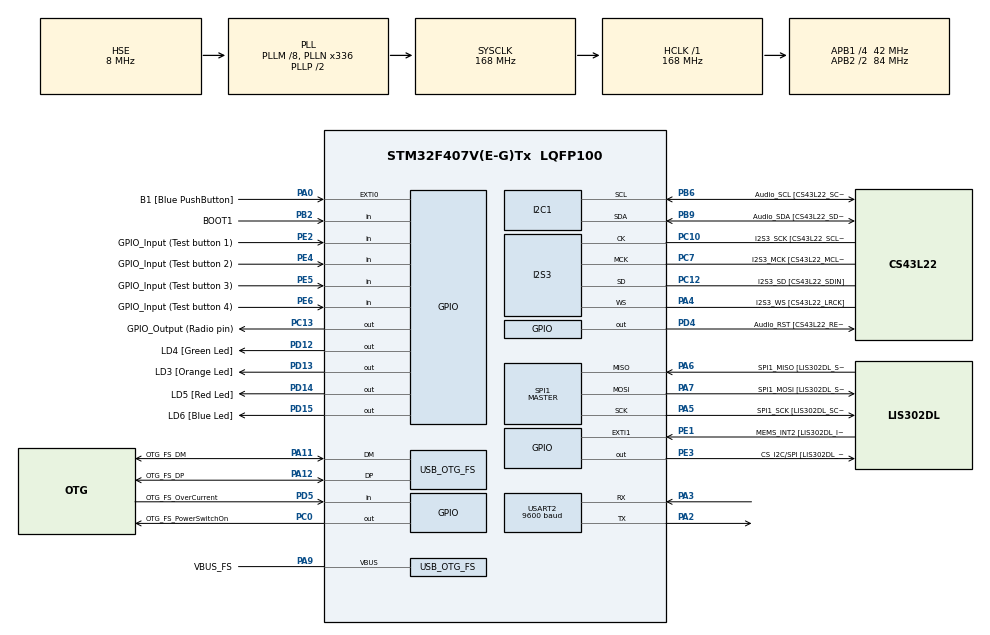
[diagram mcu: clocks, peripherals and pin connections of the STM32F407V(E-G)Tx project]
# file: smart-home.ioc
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I2S3.AudioFreq-Half_Duplex_Master=I2S_AUDIOFREQ_96K
I2S3.ErrorAudioFreq=-2.34 %
I2S3.ErrorAudioFreq-Half_Duplex_Master=0.8 %
I2S3.FullDuplexMode=I2S_FULLDUPLEXMODE_DISABLE
I2S3.Instance=SPI$Index
I2S3.RealAudioFreq=93.75 KHz
I2S3.RealAudioFreq-Half_Duplex_Master=96.774 KHz
I2S3.VirtualMode=I2S_MODE_MASTER
Mcu.Family=STM32F4
Mcu.Name=STM32F407V(E-G)Tx
Mcu.Package=LQFP100
NVIC.OTG_FS_IRQn=true\:0\:0\:false\:false\:true\:true\:true
NVIC.PriorityGroup=NVIC_PRIORITYGROUP_0
NVIC.TIM3_IRQn=true\:0\:0\:false\:false\:true\:true\:true
NVIC.USART2_IRQn=true\:0\:0\:false\:false\:true\:true\:true
PA0-WKUP.GPIO_Label=B1 [Blue PushButton]
PA0-WKUP.GPIO_ModeDefaultEXTI=GPIO_MODE_EVT_RISING
PA0-WKUP.GPIO_PuPd=GPIO_NOPULL
PA0-WKUP.Signal=GPXTI0
PA10.GPIO_Label=OTG_FS_ID
PA10.GPIO_Mode=GPIO_MODE_AF_PP
PA10.GPIO_PuPd=GPIO_NOPULL
PA10.GPIO_Speed=GPIO_SPEED_FREQ_LOW
PA10.Signal=USB_OTG_FS_ID
PA11.GPIO_Label=OTG_FS_DM
PA11.GPIO_Mode=GPIO_MODE_AF_PP
PA11.GPIO_PuPd=GPIO_NOPULL
PA11.GPIO_Speed=GPIO_SPEED_FREQ_LOW
PA11.Mode=Host_Only
PA11.Signal=USB_OTG_FS_DM
PA12.GPIO_Label=OTG_FS_DP
PA12.GPIO_Mode=GPIO_MODE_AF_PP
PA12.GPIO_PuPd=GPIO_NOPULL
PA12.GPIO_Speed=GPIO_SPEED_FREQ_LOW
PA12.Mode=Host_Only
PA12.Signal=USB_OTG_FS_DP
PA13.GPIO_Label=SWDIO
PA13.Mode=Serial_Wire
PA13.Signal=SYS_JTMS-SWDIO
PA14.GPIO_Label=SWCLK
PA14.Mode=Serial_Wire
PA14.Signal=SYS_JTCK-SWCLK
PA2.Mode=Asynchronous
PA2.Signal=USART2_TX
PA3.Mode=Asynchronous
PA3.Signal=USART2_RX
PA4.GPIO_Label=I2S3_WS [CS43L22_LRCK]
PA4.GPIO_Mode=GPIO_MODE_AF_PP
PA4.GPIO_PuPd=GPIO_NOPULL
PA4.GPIO_Speed=GPIO_SPEED_FREQ_LOW
PA4.Mode=Half_Duplex_Master
PA4.Signal=I2S3_WS
PA5.GPIO_Label=SPI1_SCK [LIS302DL_SCL/SPC]
PA5.GPIO_Mode=GPIO_MODE_AF_PP
PA5.GPIO_PuPd=GPIO_NOPULL
PA5.GPIO_Speed=GPIO_SPEED_FREQ_LOW
PA5.Mode=Full_Duplex_Master
PA5.Signal=SPI1_SCK
PA6.GPIO_Label=SPI1_MISO [LIS302DL_SDO]
PA6.GPIO_Mode=GPIO_MODE_AF_PP
PA6.GPIO_PuPd=GPIO_NOPULL
PA6.GPIO_Speed=GPIO_SPEED_FREQ_LOW
PA6.Mode=Full_Duplex_Master
PA6.Signal=SPI1_MISO
PA7.GPIO_Label=SPI1_MOSI [LIS302DL_SDA/SDI/SDO]
PA7.GPIO_Mode=GPIO_MODE_AF_PP
PA7.GPIO_PuPd=GPIO_NOPULL
PA7.GPIO_Speed=GPIO_SPEED_FREQ_LOW
PA7.Mode=Full_Duplex_Master
PA7.Signal=SPI1_MOSI
PA9.GPIO_Label=VBUS_FS
PA9.GPIO_Mode=GPIO_MODE_INPUT
PA9.GPIO_PuPd=GPIO_NOPULL
PA9.Mode=Activate_VBUS
PA9.Signal=USB_OTG_FS_VBUS
PB10.GPIO_Label=CLK_IN [MP45DT02_CLK]
PB10.GPIO_Mode=GPIO_MODE_AF_PP
PB10.GPIO_PuPd=GPIO_NOPULL
PB10.GPIO_Speed=GPIO_SPEED_FREQ_LOW
PB10.Signal=I2S2_CK
PB2.GPIO_Label=BOOT1
PB2.GPIO_Mode=GPIO_MODE_INPUT
PB2.GPIO_PuPd=GPIO_NOPULL
PB2.Signal=GPIO_Input
PB3.GPIO_Label=SWO
PB3.Signal=SYS_JTDO-SWO
PB6.GPIO_Label=Audio_SCL [CS43L22_SCL]
PB6.GPIO_Mode=GPIO_MODE_AF_OD
PB6.GPIO_PuPd=GPIO_NOPULL
PB6.GPIO_Speed=GPIO_SPEED_FREQ_LOW
PB6.Mode=I2C
PB6.Signal=I2C1_SCL
PB9.GPIO_Label=Audio_SDA [CS43L22_SDA]
PB9.GPIO_Mode=GPIO_MODE_AF_OD
PB9.GPIO_PuPd=GPIO_NOPULL
PB9.GPIO_Speed=GPIO_SPEED_FREQ_LOW
PB9.Mode=I2C
PB9.Signal=I2C1_SDA
PC0.GPIO_Label=OTG_FS_PowerSwitchOn
PC0.GPIO_PuPd=GPIO_NOPULL
PC0.GPIO_Speed=GPIO_SPEED_FREQ_LOW
PC0.PinState=GPIO_PIN_SET
PC0.Signal=GPIO_Output
PC10.GPIO_Label=I2S3_SCK [CS43L22_SCLK]
PC10.GPIO_Mode=GPIO_MODE_AF_PP
PC10.GPIO_PuPd=GPIO_NOPULL
PC10.GPIO_Speed=GPIO_SPEED_FREQ_LOW
PC10.Mode=Half_Duplex_Master
PC10.Signal=I2S3_CK
PC12.GPIO_Label=I2S3_SD [CS43L22_SDIN]
PC12.GPIO_Mode=GPIO_MODE_AF_PP
PC12.GPIO_PuPd=GPIO_NOPULL
PC12.GPIO_Speed=GPIO_SPEED_FREQ_LOW
PC12.Mode=Half_Duplex_Master
PC12.Signal=I2S3_SD
PC13-ANTI_TAMP.GPIO_Label=GPIO_Output (Radio pin)
PC13-ANTI_TAMP.Signal=GPIO_Output
PC14-OSC32_IN.GPIO_Label=PC14-OSC32_IN
PC14-OSC32_IN.Mode=LSE-External-Oscillator
PC14-OSC32_IN.Signal=RCC_OSC32_IN
PC15-OSC32_OUT.GPIO_Label=PC15-OSC32_OUT
PC15-OSC32_OUT.Mode=LSE-External-Oscillator
PC15-OSC32_OUT.Signal=RCC_OSC32_OUT
PC3.GPIO_Label=PDM_OUT [MP45DT02_DOUT]
PC3.GPIO_Mode=GPIO_MODE_AF_PP
PC3.GPIO_PuPd=GPIO_NOPULL
PC3.GPIO_Speed=GPIO_SPEED_FREQ_LOW
PC3.Signal=I2S2_SD
PC7.GPIO_Label=I2S3_MCK [CS43L22_MCLK]
PC7.GPIO_Mode=GPIO_MODE_AF_PP
PC7.GPIO_PuPd=GPIO_NOPULL
PC7.GPIO_Speed=GPIO_SPEED_FREQ_LOW
PC7.Mode=Master_Clock_Activated
PC7.Signal=I2S3_MCK
PD12.GPIO_Label=LD4 [Green Led]
PD12.GPIO_PuPd=GPIO_NOPULL
PD12.GPIO_Speed=GPIO_SPEED_FREQ_LOW
PD12.Signal=GPIO_Output
PD13.GPIO_Label=LD3 [Orange Led]
PD13.GPIO_PuPd=GPIO_NOPULL
PD13.GPIO_Speed=GPIO_SPEED_FREQ_LOW
PD13.Signal=GPIO_Output
PD14.GPIO_Label=LD5 [Red Led]
PD14.GPIO_PuPd=GPIO_NOPULL
PD14.GPIO_Speed=GPIO_SPEED_FREQ_LOW
PD14.Signal=GPIO_Output
PD15.GPIO_Label=LD6 [Blue Led]
PD15.GPIO_PuPd=GPIO_NOPULL
PD15.GPIO_Speed=GPIO_SPEED_FREQ_LOW
PD15.Signal=GPIO_Output
PD4.GPIO_Label=Audio_RST [CS43L22_RESET]
PD4.GPIO_PuPd=GPIO_NOPULL
PD4.GPIO_Speed=GPIO_SPEED_FREQ_LOW
PD4.Signal=GPIO_Output
PD5.GPIO_Label=OTG_FS_OverCurrent
PD5.GPIO_Mode=GPIO_MODE_INPUT
PD5.GPIO_PuPd=GPIO_NOPULL
PD5.Signal=GPIO_Input
PE1.GPIO_Label=MEMS_INT2 [LIS302DL_INT2]
PE1.GPIO_ModeDefaultEXTI=GPIO_MODE_EVT_RISING
PE1.GPIO_PuPd=GPIO_NOPULL
PE1.Signal=GPXTI1
PE2.GPIO_Label=GPIO_Input (Test button 1)
PE2.GPIO_PuPd=GPIO_PULLDOWN
PE2.Signal=GPIO_Input
PE3.GPIO_Label=CS_I2C/SPI [LIS302DL_CS_I2C/SPI]
PE3.GPIO_PuPd=GPIO_NOPULL
PE3.GPIO_Speed=GPIO_SPEED_FREQ_LOW
PE3.Signal=GPIO_Output
PE4.GPIO_Label=GPIO_Input (Test button 2)
PE4.GPIO_PuPd=GPIO_PULLDOWN
PE4.Signal=GPIO_Input
PE5.GPIO_Label=GPIO_Input (Test button 3)
PE5.GPIO_PuPd=GPIO_PULLDOWN
PE5.Signal=GPIO_Input
PE6.GPIO_Label=GPIO_Input (Test button 4)
PE6.GPIO_PuPd=GPIO_PULLDOWN
PE6.Signal=GPIO_Input
PH0-OSC_IN.GPIO_Label=PH0-OSC_IN
PH0-OSC_IN.Mode=HSE-External-Oscillator
PH0-OSC_IN.Signal=RCC_OSC_IN
PH1-OSC_OUT.GPIO_Label=PH1-OSC_OUT
PH1-OSC_OUT.Mode=HSE-External-Oscillator
PH1-OSC_OUT.Signal=RCC_OSC_OUT
ProjectManager.HeapSize=0x200
ProjectManager.StackSize=0x400
ProjectManager.TargetToolchain=MDK-ARM V5
RCC.48MHZClocksFreq_Value=48000000
RCC.AHBFreq_Value=168000000
RCC.APB1CLKDivider=RCC_HCLK_DIV4
RCC.APB1Freq_Value=42000000
RCC.APB1TimFreq_Value=84000000
RCC.APB2CLKDivider=RCC_HCLK_DIV2
RCC.APB2Freq_Value=84000000
RCC.APB2TimFreq_Value=168000000
RCC.CortexFreq_Value=168000000
RCC.HCLKFreq_Value=168000000
RCC.HSE_VALUE=8000000
RCC.HSI_VALUE=16000000
RCC.PLLM=8
RCC.PLLN=336
RCC.PLLQ=7
RCC.SYSCLKFreq_VALUE=168000000
RCC.SYSCLKSource=RCC_SYSCLKSOURCE_PLLCLK
RCC.VCOOutputFreq_Value=336000000
SPI1.BaudRatePrescaler-Full_Duplex_Master=SPI_BAUDRATEPRESCALER_2
SPI1.CalculateBaudRate-Full_Duplex_Master=42.0 MBits/s
SPI1.Direction=SPI_DIRECTION_2LINES
SPI1.Mode=SPI_MODE_MASTER
SPI1.Mode-Full_Duplex_Master=SPI_MODE_MASTER
SPI1.VirtualType=VM_MASTER
TIM3.Period=99
TIM3.Prescaler=20
USART2.BaudRate=9600
USART2.VirtualMode=VM_ASYNC
USB_HOST.BSP.number=1
USB_HOST.USBH_HandleTypeDef-CDC_FS=hUsbHostFS
USB_HOST.VirtualModeFS=Cdc
USB_HOST0.BSP.STBoard=false
USB_HOST0.BSP.api=Unknown
USB_HOST0.BSP.i2caddr=0
USB_HOST0.BSP.i2creg=0
USB_HOST0.BSP.instance=PC0
USB_HOST0.BSP.ip=GPIO
USB_HOST0.BSP.mode=Output
USB_HOST0.BSP.name=Drive_VBUS_FS
USB_HOST0.BSP.solution=PC0
USB_OTG_FS.VirtualMode=Host_Only
USB_OTG_FS.phy_itface=HCD_PHY_EMBEDDED
VP_TIM3_VS_ClockSourceINT.Mode=Internal
VP_USB_HOST_VS_USB_HOST_CDC_FS.Mode=CDC_FS
board=STM32F4DISCOVERY

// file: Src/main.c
/* USER CODE BEGIN Header */
/**
  ******************************************************************************
  * @file           : main.c
  * @brief          : Main program body
  ******************************************************************************
  * @attention
  *
  * <h2><center>&copy; Copyright (c) 2019 STMicroelectronics.
  * All rights reserved.</center></h2>
  *
  * This software component is licensed by ST under Ultimate Liberty license
  * SLA0044, the "License"; You may not use this file except in compliance with
  * the License. You may obtain a copy of the License at:
  *                             www.st.com/SLA0044
  *
  ******************************************************************************
  */
/* USER CODE END Header */

#include "main.h"
#include "i2c.h"
#include "i2s.h"
#include "spi.h"
#include "tim.h"
#include "usart.h"
#include "usb_host.h"
#include "gpio.h"

/* USER CODE BEGIN PD */
#define OFF 0
#define ON 1

#define NUM_BUTTONS 4
#define UART_PACKET_SIZE 8
#define DEBOUNCE_DELAY_MS 100

#define NUM_RADIO_PACKETS 6
#define RADIO_PACKET_SIZE 19
#define COUNTER_INC_US 25
#define RADIO_1_US 500
#define RADIO_0_US 250
#define RADIO_PACKET_DELAY_US 1000

/* USER CODE END PD */

/* USER CODE BEGIN PV */
typedef struct
{
	GPIO_TypeDef* GPIO_port;
	uint16_t GPIO_pin;
	uint64_t counter; // Used for debouncing
	uint8_t status;   // Indicates whether or not the button is pressed
	uint8_t radio_flag;
}
button;
/* USER CODE END PV */

void SystemClock_Config(void);
void MX_USB_HOST_Process(void);

/* USER CODE BEGIN PFP */
uint32_t Ms_Tick(void);
void Button_Init(uint8_t i, GPIO_TypeDef* GPIO_bank, uint16_t GPIO_pin);
void Buttons_Init(void);
void Encode_UART_Packets(uint8_t UART_Packets[]);
uint32_t Encode_Radio_Packet(uint8_t i);
void Read_Button(uint8_t i);
void LED_Debug(void);
/* USER CODE END PFP */

/* USER CODE BEGIN 0 */
button buttons[NUM_BUTTONS];
uint8_t Rx_buffer;

volatile uint32_t radio_packet;
volatile uint8_t is_radio_packet_ready = 0;
volatile uint8_t is_going = 0;
volatile uint8_t is_delay = 0;
/* USER CODE END 0 */

int main(void)
{

  /* MCU Configuration--------------------------------------------------------*/

  /* Reset of all peripherals, Initializes the Flash interface and the Systick. */
  HAL_Init();

  /* Configure the system clock */
  SystemClock_Config();

  /* Initialize all configured peripherals */
  MX_GPIO_Init();
  MX_I2C1_Init();
  MX_I2S3_Init();
  MX_SPI1_Init();
  MX_USART2_UART_Init();
  MX_USB_HOST_Init();
  MX_TIM3_Init();
  /* USER CODE BEGIN 2 */
	Buttons_Init();
	HAL_TIM_Base_Start_IT(&htim3);
	uint32_t ms_counter = Ms_Tick();
	uint32_t sec_counter = Ms_Tick();
	uint8_t i;
	uint8_t UART_packets[NUM_BUTTONS];
  /* USER CODE END 2 */

  /* Infinite loop */
  while (1)
  {
    MX_USB_HOST_Process();

    /* USER CODE BEGIN 3 */
    /* Every 1 ms, read the status of each button */
		if (Ms_Tick() - ms_counter > 0)
		{
			for (i = 0; i < NUM_BUTTONS; i++)
			{
				Read_Button(i);
			}
			ms_counter++;
		}
		/* Every 1 sec, encode and transmit the status of the buttons via UART */
		if (Ms_Tick() - sec_counter > 999)
		{
			Encode_UART_Packets(UART_packets);
			HAL_UART_Transmit(&huart2, UART_packets, NUM_BUTTONS, 10);
			sec_counter += 1000;
		}
		/* If there is a change to a button, and no other change
		   is being transmitted, transmit the change via radio */
		for (i = 0; i < NUM_BUTTONS; i++)
		{
			if ((buttons[i].radio_flag == ON) && !(is_radio_packet_ready || is_going || is_delay))
			{
				radio_packet = Encode_Radio_Packet(i);
				buttons[i].radio_flag = OFF;
				is_radio_packet_ready = ON;
			}
		}
		/* Check for incoming UART data */
		HAL_UART_Receive_IT(&huart2, &Rx_buffer, 1);
		/* Display the status of the buttons on the LEDs for debugging purposes */
		LED_Debug();
  }
  /* USER CODE END 3 */
}

void SystemClock_Config(void)
{
  RCC_OscInitTypeDef RCC_OscInitStruct = {0};
  RCC_ClkInitTypeDef RCC_ClkInitStruct = {0};
  RCC_PeriphCLKInitTypeDef PeriphClkInitStruct = {0};

  /** Configure the main internal regulator output voltage
  */
  __HAL_RCC_PWR_CLK_ENABLE();
  __HAL_PWR_VOLTAGESCALING_CONFIG(PWR_REGULATOR_VOLTAGE_SCALE1);
  /** Initializes the CPU, AHB and APB busses clocks
  */
  RCC_OscInitStruct.OscillatorType = RCC_OSCILLATORTYPE_HSE;
  RCC_OscInitStruct.HSEState = RCC_HSE_ON;
  RCC_OscInitStruct.PLL.PLLState = RCC_PLL_ON;
  RCC_OscInitStruct.PLL.PLLSource = RCC_PLLSOURCE_HSE;
  RCC_OscInitStruct.PLL.PLLM = 8;
  RCC_OscInitStruct.PLL.PLLN = 336;
  RCC_OscInitStruct.PLL.PLLP = RCC_PLLP_DIV2;
  RCC_OscInitStruct.PLL.PLLQ = 7;
  if (HAL_RCC_OscConfig(&RCC_OscInitStruct) != HAL_OK)
  {
    Error_Handler();
  }
  /** Initializes the CPU, AHB and APB busses clocks
  */
  RCC_ClkInitStruct.ClockType = RCC_CLOCKTYPE_HCLK|RCC_CLOCKTYPE_SYSCLK
                              |RCC_CLOCKTYPE_PCLK1|RCC_CLOCKTYPE_PCLK2;
  RCC_ClkInitStruct.SYSCLKSource = RCC_SYSCLKSOURCE_PLLCLK;
  RCC_ClkInitStruct.AHBCLKDivider = RCC_SYSCLK_DIV1;
  RCC_ClkInitStruct.APB1CLKDivider = RCC_HCLK_DIV4;
  RCC_ClkInitStruct.APB2CLKDivider = RCC_HCLK_DIV2;

  if (HAL_RCC_ClockConfig(&RCC_ClkInitStruct, FLASH_LATENCY_5) != HAL_OK)
  {
    Error_Handler();
  }
  PeriphClkInitStruct.PeriphClockSelection = RCC_PERIPHCLK_I2S;
  PeriphClkInitStruct.PLLI2S.PLLI2SN = 192;
  PeriphClkInitStruct.PLLI2S.PLLI2SR = 2;
  if (HAL_RCCEx_PeriphCLKConfig(&PeriphClkInitStruct) != HAL_OK)
  {
    Error_Handler();
  }
}

/* USER CODE BEGIN 4 */
/**
  * @brief  This function is used for UART Rx callbacks.
  * @retval None
  */
void HAL_UART_RxCpltCallback(UART_HandleTypeDef *huart)
{
	/* USART2 is used to receive updates about the status
	 * of the buttons and trigger a radio transmission
	 */
	if (huart->Instance == USART2)
	{
		static uint8_t buffer;
		static uint8_t new_status;
		static uint8_t id;

		/* Parse the receive buffer */
		buffer = Rx_buffer;
		new_status = buffer & 1;
		buffer >>= 1;
		id = buffer;

		/* Update the button status and radio flag if there is a change */
		if (buttons[id].status != new_status)
		{
			buttons[id].status = new_status;
			buttons[id].radio_flag = ON;
		}
	}
}

/**
  * @brief  This function is used for timer interrupt service routines.
  * @retval None
  */
void HAL_TIM_PeriodElapsedCallback(TIM_HandleTypeDef *htim)
{
	/* TIM3 is used for the radio transmission FSM */
  if (htim->Instance == TIM3)
	{
		static uint8_t buffer = 0;
		static uint8_t packet_buffer = 0;
		static uint8_t bit_counter = 0;
		static uint8_t is_transmitting_high = 0;
		static uint8_t counter = 0;
		static uint8_t repeat = 0;

		if (is_radio_packet_ready)
		{
			packet_buffer = radio_packet;
			buffer = packet_buffer;
			is_radio_packet_ready = OFF;
			is_going = ON;
			is_delay = OFF;
			is_transmitting_high = ON;
			repeat = 0;
			counter = 0;
			bit_counter = 0;
			HAL_GPIO_WritePin(GPIO_Output_GPIO_Port, GPIO_Output_Pin, GPIO_PIN_SET);
		}
		if (is_going)
		{
			counter++;

			int delay_ticks;
			if (buffer & 1)
				delay_ticks = RADIO_1_US/COUNTER_INC_US;
			else
				delay_ticks = RADIO_0_US/COUNTER_INC_US;

			if (is_transmitting_high)
				HAL_GPIO_WritePin(GPIO_Output_GPIO_Port, GPIO_Output_Pin, GPIO_PIN_SET);
			else
				HAL_GPIO_WritePin(GPIO_Output_GPIO_Port, GPIO_Output_Pin, GPIO_PIN_RESET);

			if (is_transmitting_high && (counter == delay_ticks))
			{
				is_transmitting_high = OFF;
				counter = 0;
			}
			else if (!is_transmitting_high && (counter == delay_ticks))
			{
				counter = 0;
				bit_counter++;
				is_transmitting_high = ON;
				buffer >>= 1;
				if (bit_counter == RADIO_PACKET_SIZE)
				{
					bit_counter = 0;
					is_going = OFF;
					if (repeat < NUM_RADIO_PACKETS - 1)
					{
						is_delay = ON;
					}
					else
					{
						is_delay = OFF;
						repeat = 0;
					}
				}
			}
		}
		else if (is_delay)
		{
			is_transmitting_high = OFF;
			counter++;
			if (counter == RADIO_PACKET_DELAY_US/COUNTER_INC_US)
			{
				is_transmitting_high = ON;
				is_going = ON;
				is_delay = OFF;
				buffer = packet_buffer;
				repeat++;
				counter = 0;
			}
		}
		else
		{
			HAL_GPIO_WritePin(GPIO_Output_GPIO_Port, GPIO_Output_Pin, GPIO_PIN_RESET);
			is_going = OFF;
			repeat = 0;
		}
	}
}

/**
  * @brief  This function is used as a millisecond counter.
  * @retval A tick value in milliseconds
  */
uint32_t Ms_Tick(void)
{
	return HAL_GetTick();
}

/**
  * @brief  This function is used to initialize a struct button.
  * @retval None
  */
void Button_Init(uint8_t i, GPIO_TypeDef* GPIO_port, uint16_t GPIO_pin)
{
	buttons[i].GPIO_port = GPIO_port;
	buttons[i].GPIO_pin = GPIO_pin;
	buttons[i].counter = 0;
	buttons[i].status = OFF;
}

/**
  * @brief  This function is used to inialize the global variable
  *         buttons, an array of struct buttons.
  * @retval None
  */
void Buttons_Init(void)
{
	Button_Init(0, GPIO_Input_GPIO_Port, GPIO_Input_Pin);   // PE2
	Button_Init(1, GPIO_Input_GPIO_Port, GPIO_InputE4_Pin); // PE4
	Button_Init(2, GPIO_Input_GPIO_Port, GPIO_InputE5_Pin); // PE5
	Button_Init(3, GPIO_Input_GPIO_Port, GPIO_InputE6_Pin); // PE6
}

/**
  * @brief  This function is used to update the UART_packets
  *         array with the current status of the buttons.
	*				  See documentation for the encoding specifications.
  * @retval None
  */
void Encode_UART_Packets(uint8_t UART_Packets[])
{
	int i;
	for (i = 0; i < NUM_BUTTONS; i++)
	{
		UART_Packets[i] = i;
		UART_Packets[i] <<= 1;
		if (buttons[i].status == ON)
		{
			UART_Packets[i] |= 1;
		}
	}
}

/**
  * @brief  This function takes a button index as input and returns
	*         a radio packet containing the status of the button.
  * @param  i: the index of the button to be encoded
  * @retval the packet containing the button status (see documentaion
  *         for the encoding specifications)
  */
uint32_t Encode_Radio_Packet(uint8_t i)
{
	uint32_t radio_packet;
	radio_packet = i;
	radio_packet <<= 3;
	if (buttons[i].status == ON)
	{
		radio_packet |= 1;
	}
	return radio_packet;
}

/**
  * @brief  This function is used to read the appropriate GPIO pins and
  *         update the struct button accordingly.
  *         When the GPIO pin has been pressed for DEBOUNCE_DELAY_MS ms,
  *         the final if statement is entered once to update the status
  *         of the button.
  * @retval None
  */
void Read_Button(uint8_t i)
{
	if (HAL_GPIO_ReadPin(buttons[i].GPIO_port, buttons[i].GPIO_pin) == GPIO_PIN_SET)
	{
		buttons[i].counter++;
	}
	else
	{
		buttons[i].counter = 0;
	}
	if (buttons[i].counter == DEBOUNCE_DELAY_MS)
	{
		buttons[i].status ^= 1;
		buttons[i].radio_flag = ON;
	}
}

/**
  * @brief  This function is used for debugging GPIO input pins.
  *         When the status field of a struct button is ON,
  *         an LED lights up, with priority given to the lowest
  *         struct button in the array.
  * @retval None
  */
void LED_Debug(void)
{
	/* Connect PE2 to 3V (since it is pull-down) to light up LD3 */
	if (buttons[0].status == ON)
	{
			HAL_GPIO_WritePin(LD3_GPIO_Port, LD3_Pin, GPIO_PIN_SET);
	}
	else
	{
			HAL_GPIO_WritePin(LD3_GPIO_Port, LD3_Pin, GPIO_PIN_RESET);
	}
	/* Connect PE4 to 3V to light up LD4 */
	if (buttons[1].status == ON)
	{
			HAL_GPIO_WritePin(LD4_GPIO_Port, LD4_Pin, GPIO_PIN_SET);
	}
	else
	{
			HAL_GPIO_WritePin(LD4_GPIO_Port, LD4_Pin, GPIO_PIN_RESET);
	}
	/* Connect PE5 to 3V to light up LD5 */
	if (buttons[2].status == ON)
	{
			HAL_GPIO_WritePin(LD5_GPIO_Port, LD5_Pin, GPIO_PIN_SET);
	}
	else
	{
			HAL_GPIO_WritePin(LD5_GPIO_Port, LD5_Pin, GPIO_PIN_RESET);
	}
	/* Connect PE6 to 3V to light up LD6 */
	if (buttons[3].status == ON)
	{
			HAL_GPIO_WritePin(LD6_GPIO_Port, LD6_Pin, GPIO_PIN_SET);
	}
	else
	{
			HAL_GPIO_WritePin(LD6_GPIO_Port, LD6_Pin, GPIO_PIN_RESET);
	}
}
/* USER CODE END 4 */

void Error_Handler(void)
{
}

/************************ (C) COPYRIGHT STMicroelectronics *****END OF FILE****/
